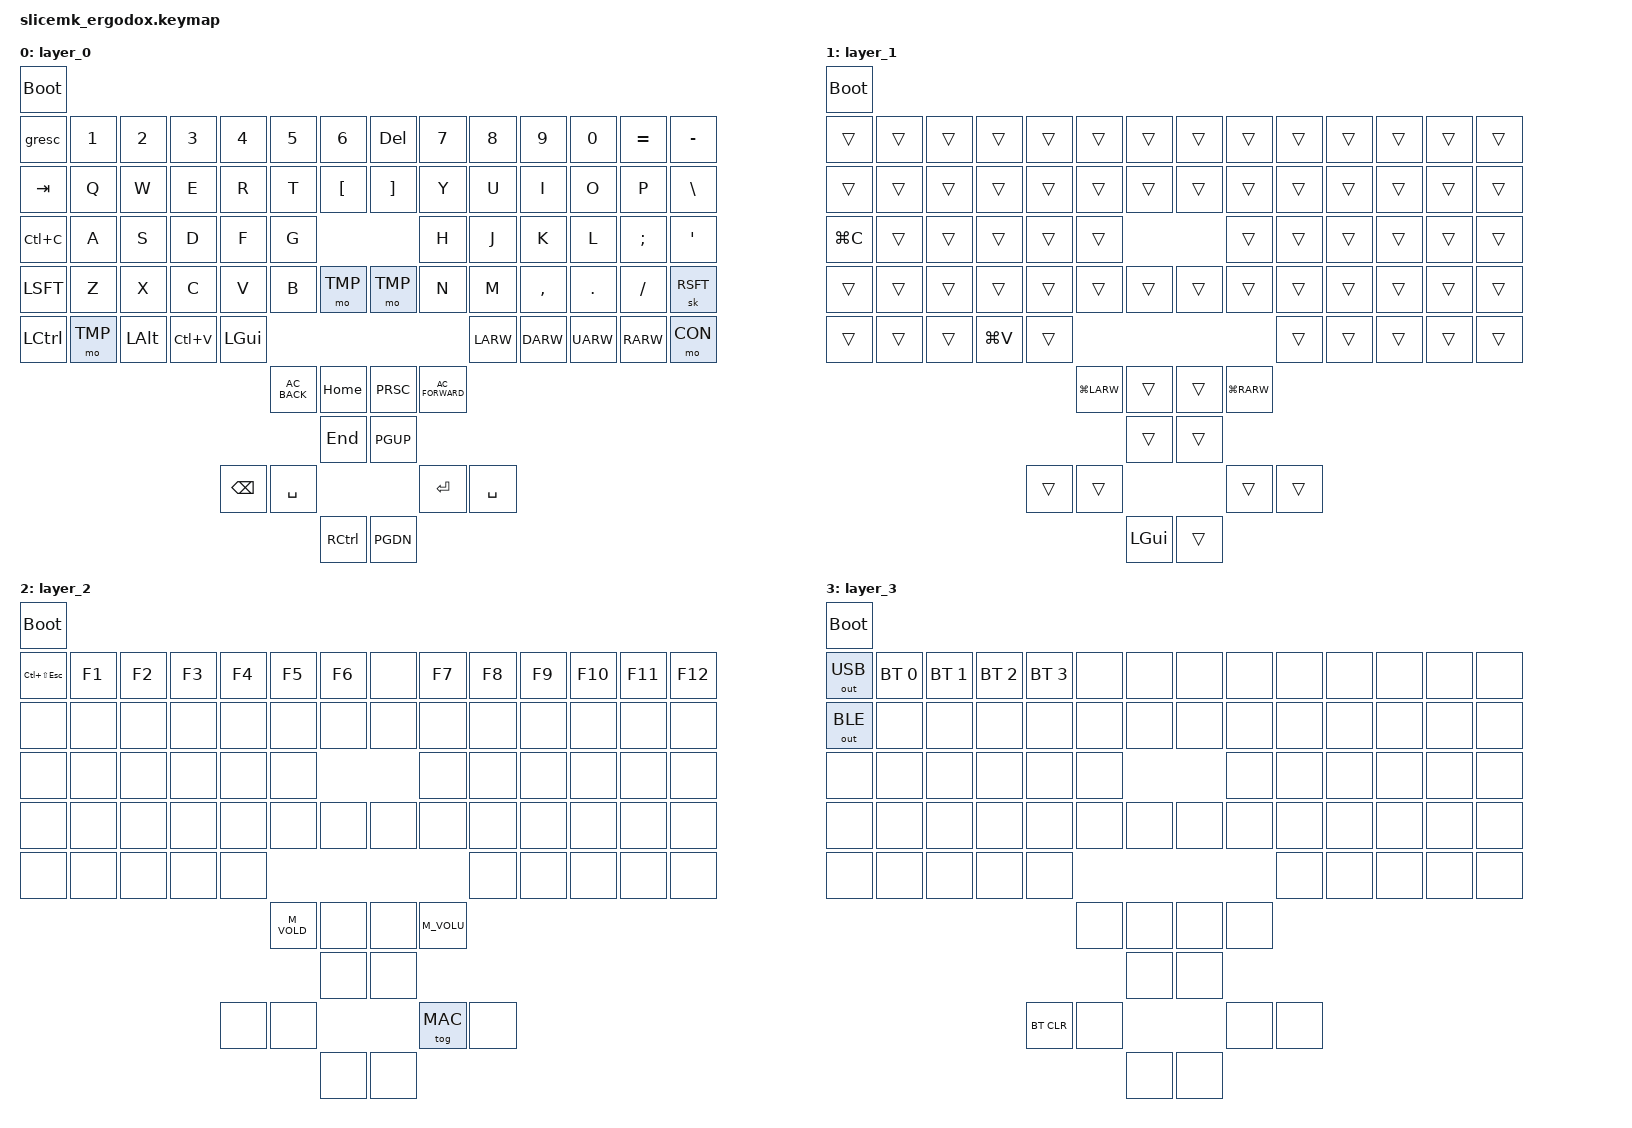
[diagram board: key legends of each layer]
#include <behaviors.dtsi>
#include <dt-bindings/zmk/bt.h>
#include <dt-bindings/zmk/keys.h>
#include <dt-bindings/zmk/outputs.h>

#define WIN 0
#define MAC 1
#define TMP 2
#define CON 3

/ {
        keymap {
                compatible = "zmk,keymap";

                layer_0 {
                        bindings = <
    &bootloader
    &gresc   &kp NUM_1  &kp NUM_2  &kp NUM_3  &kp NUM_4  &kp NUM_5    &kp NUM_6  &kp DEL    &kp NUM_7  &kp NUM_8  &kp NUM_9  &kp NUM_0  &kp EQUAL  &kp MINUS
    &kp TAB    &kp Q      &kp W      &kp E      &kp R      &kp T      &kp LBKT   &kp RBKT   &kp Y      &kp U      &kp I      &kp O      &kp P      &kp BSLH
    &kp LC(C)  &kp A      &kp S      &kp D      &kp F      &kp G                            &kp H      &kp J      &kp K      &kp L      &kp SCLN   &kp APOS
    &kp LSFT   &kp Z      &kp X      &kp C      &kp V      &kp B      &mo TMP    &mo TMP    &kp N      &kp M      &kp CMMA   &kp DOT    &kp FSLH   &sk RSFT
    &kp LCTL   &mo TMP    &kp LALT   &kp LC(V)  &kp LGUI                                               &kp LARW   &kp DARW   &kp UARW   &kp RARW   &mo CON
                                                    &kp C_AC_BACK     &kp HOME    &kp PRSC   &kp C_AC_FORWARD
                                                                      &kp END     &kp PGUP
                                                &kp BSPC   &kp SPC                          &kp RET    &kp SPC
                                                                      &kp RCTL    &kp PGDN
                        >;
                };
              
                layer_1 {
                        bindings = <
    &bootloader
    &trans     &trans     &trans     &trans     &trans     &trans       &trans     &trans     &trans      &trans      &trans      &trans      &trans      &trans
    &trans     &trans     &trans     &trans     &trans     &trans       &trans     &trans     &trans      &trans      &trans      &trans      &trans      &trans
    &kp LG(C)  &trans     &trans     &trans     &trans     &trans                             &trans      &trans      &trans      &trans      &trans      &trans
    &trans     &trans     &trans     &trans     &trans     &trans       &trans     &trans     &trans      &trans      &trans      &trans      &trans      &trans
    &trans     &trans     &trans     &kp LG(V)  &trans                                                    &trans      &trans      &trans      &trans      &trans
                                                           &kp LG(LARW) &trans     &trans   &kp LG(RARW)
                                                                        &trans     &trans
                                                        &trans   &trans                     &trans    &trans
                                                                        &kp LGUI   &trans
                        >;
                };
                
                layer_2 {
                        bindings = <
    &bootloader
    &kp LC(LS(ESC)) &kp F1     &kp F2     &kp F3     &kp F4     &kp F5     &kp F6       &none   &kp F7  &kp F8  &kp F9     &kp F10    &kp F11    &kp F12
    &none           &none      &none      &none      &none      &none      &none        &none   &none   &none   &none      &none      &none      &none
    &none           &none      &none      &none      &none      &none                           &none   &none   &none      &none      &none      &none
    &none           &none      &none      &none      &none      &none      &none        &none   &none   &none   &none      &none      &none      &none
    &none           &none      &none      &none      &none                                              &none   &none      &none      &none      &none
                                                           &kp M_VOLD      &none        &none   &kp M_VOLU
                                                                      &none             &none
                                                     &none      &none                           &tog MAC  &none
                                                                      &none              &none
                        >;
                };
                                layer_3 {
                        bindings = <
    &bootloader
    &out OUT_USB    &bt BT_SEL 0    &bt BT_SEL 1   &bt BT_SEL 2  &bt BT_SEL 3 &none        &none       &none     &none   &none      &none      &none      &none      &none
    &out OUT_BLE    &none           &none          &none         &none        &none        &none       &none     &none   &none      &none      &none      &none      &none
    &none           &none           &none          &none         &none        &none                              &none   &none      &none      &none      &none      &none
    &none           &none           &none          &none         &none        &none        &none       &none     &none   &none      &none      &none      &none      &none
    &none           &none           &none          &none         &none                                                   &none      &none      &none      &none      &none
                                                                            &none      &none              &none    &none 
                                                                                       &none              &none
                                                                 &bt BT_CLR      &none                            &none      &none 
                                                                                       &none              &none
                        >;
                };
        };
};
